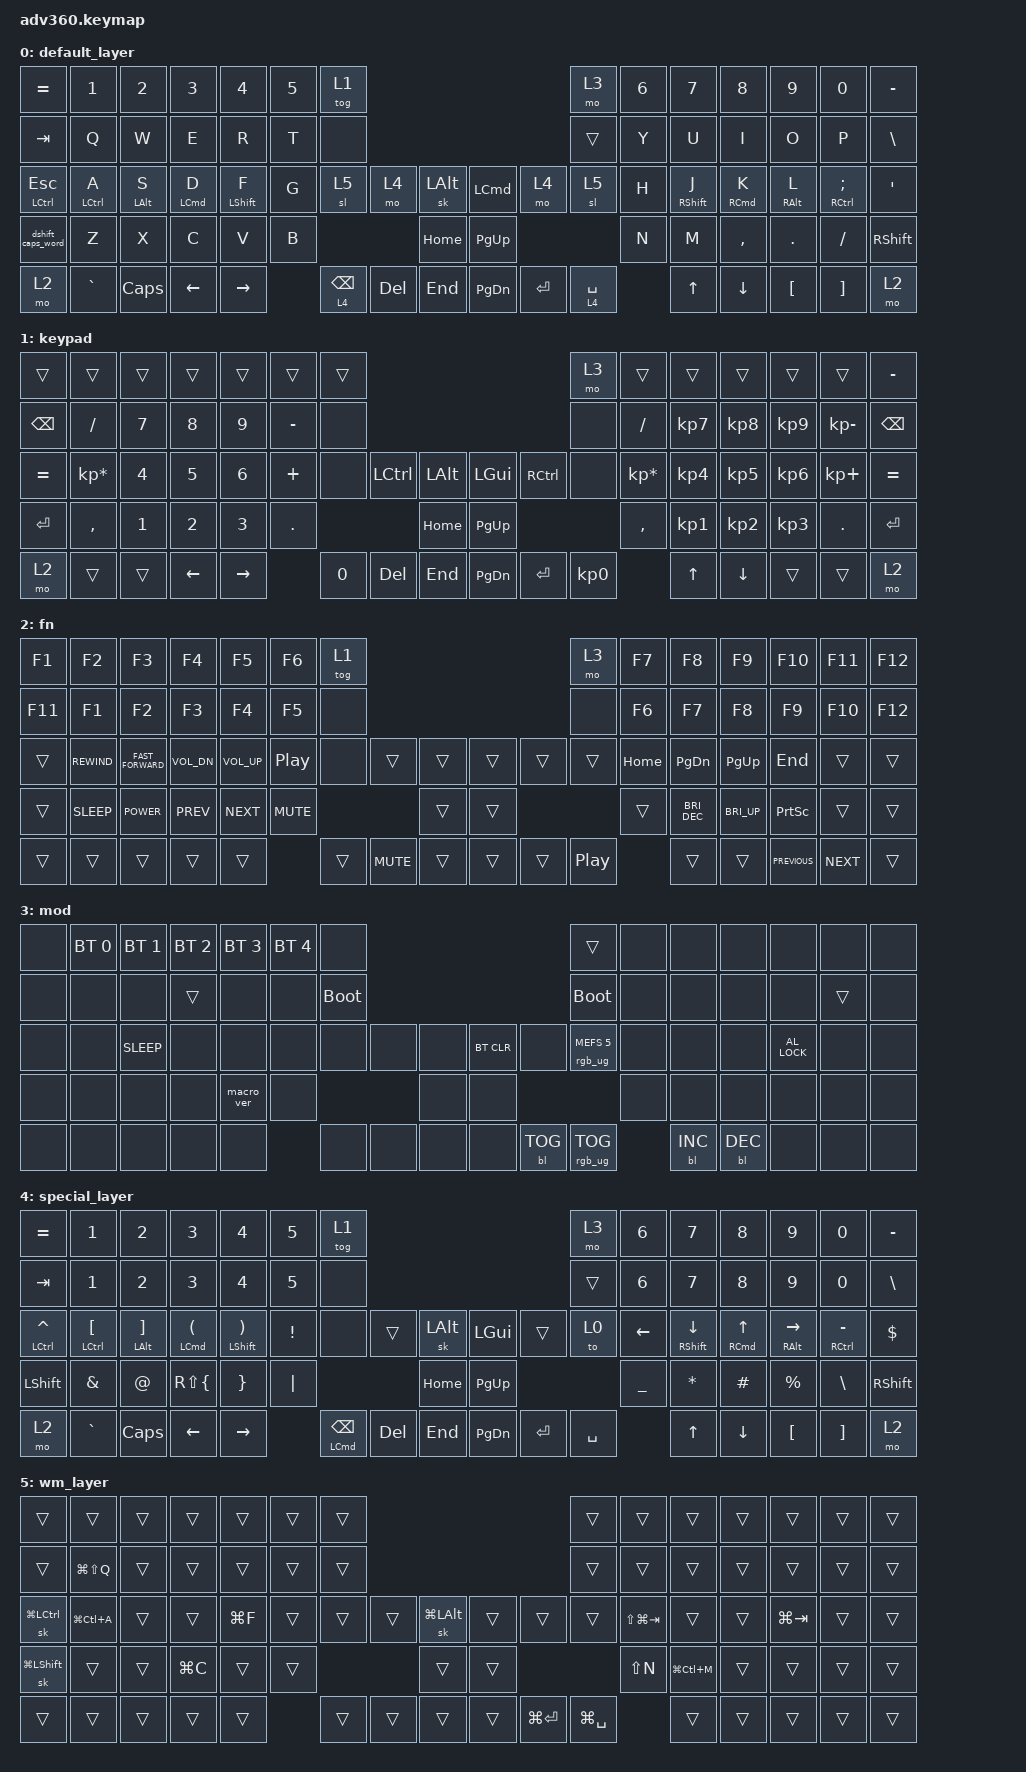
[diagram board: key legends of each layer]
#include <behaviors.dtsi>
#include <dt-bindings/zmk/backlight.h>
#include <dt-bindings/zmk/bt.h>
#include <dt-bindings/zmk/keys.h>
#include <dt-bindings/zmk/rgb.h>

&mt {
    flavor = "tap-preferred";
    quick-tap-ms = <200>;
    require-prior-idle-ms = <125>;
};

&caps_word { mods = <(MOD_RSFT|MOD_LSFT)>; };

/ {
    behaviors {
        #include "macros.dtsi"
      #include "version.dtsi"
      #ifndef VERSION_MACRO

        macro_ver: macro_ver {
            compatible = "zmk,behavior-macro";
            label = "macro_version";
            #binding-cells = <0>;
            bindings = <&kp RET>;
        };

        #endif

        hm: homerow_mods {
            compatible = "zmk,behavior-hold-tap";
            label = "HOMEROW_MODS";
            #binding-cells = <2>;
            tapping-term-ms = <350>;
            quick-tap-ms = <300>;
            require-prior-idle-ms = <300>;
            flavor = "tap-preferred";
            bindings = <&kp>, <&kp>;
        };

        spl: spl_layer_mod {
            compatible = "zmk,behavior-hold-tap";
            label = "SPL_LAYER_MODS";
            #binding-cells = <2>;
            tapping-term-ms = <350>;
            quick-tap-ms = <300>;
            require-prior-idle-ms = <300>;
            flavor = "tap-preferred";
            bindings = <&mo>, <&kp>;
        };

        td_mt_0: tap_dance_mt_0 {
            compatible = "zmk,behavior-tap-dance";
            label = "td_mt_0";
            #binding-cells = <0>;
            bindings = <&mt LCMD BACKSPACE>, <&kp BACKSPACE>;

            tapping-term-ms = <310>;
        };

        dshift_caps_word: dshift_caps_word {
            compatible = "zmk,behavior-tap-dance";
            label = "DSHIFT_CAPS_WORD";
            #binding-cells = <0>;
            bindings = <&kp LEFT_SHIFT>, <&caps_word>;

            tapping-term-ms = <310>;
        };
    };

    combos {
        compatible = "zmk,combos";

        wm_bspce_1 {
            bindings = <&kp LG(N1)>;
            key-positions = <65 29>;
            layers = <0>;
        };

        wm_bspce_2 {
            bindings = <&kp LG(N2)>;
            key-positions = <65 30>;
            layers = <0>;
        };

        wm_bspce_3 {
            bindings = <&kp LG(NUMBER_3)>;
            key-positions = <65 31>;
            layers = <0>;
        };

        wm_bspce_4 {
            bindings = <&kp LG(NUMBER_4)>;
            key-positions = <65 32>;
            layers = <0>;
        };

        wm_bspce_5 {
            bindings = <&kp LG(N5)>;
            key-positions = <65 33>;
            layers = <0>;
        };

        wm_spce_6 {
            bindings = <&kp LG(NUMBER_6)>;
            key-positions = <70 40>;
            layers = <0>;
        };

        wm_spce_7 {
            bindings = <&kp LG(N7)>;
            key-positions = <70 41>;
            layers = <0>;
        };

        wm_spce_8 {
            bindings = <&kp LG(N8)>;
            key-positions = <70 42>;
            layers = <0>;
        };

        wm_spce_9 {
            bindings = <&kp LG(N9)>;
            key-positions = <70 43>;
            layers = <0>;
        };

        wm_spce_bslash {
            bindings = <&kp LG(TAB)>;
            key-positions = <70 27>;
            layers = <0>;
        };

        wm_bspce_tab {
            bindings = <&kp LG(TAB)>;
            key-positions = <65 14>;
            layers = <0>;
        };
    };

    macros {
    };

    keymap {
        compatible = "zmk,keymap";

        default_layer {
            bindings = <
&kp EQUAL          &kp N1       &kp N2          &kp N3      &kp N4        &kp N5  &tog 1                                                         &mo 3         &kp N6  &kp N7        &kp N8      &kp N9           &kp N0               &kp MINUS
&kp TAB            &kp Q        &kp W           &kp E       &kp R         &kp T   &none                                                          &trans        &kp Y   &kp U         &kp I       &kp O            &kp P                &kp BSLH
&mt LCTRL ESCAPE   &hm LCTRL A  &hm LEFT_ALT S  &hm LCMD D  &hm LSHIFT F  &kp G   &sl 5             &mo 4    &sk LALT      &kp LCMD   &mo 4      &sl 5         &kp H   &hm RSHIFT J  &hm RCMD K  &hm RIGHT_ALT L  &hm RCTRL SEMICOLON  &kp SQT
&dshift_caps_word  &kp Z        &kp X           &kp C       &kp V         &kp B                              &kp HOME      &kp PG_UP                           &kp N   &kp M         &kp COMMA   &kp DOT          &kp FSLH             &kp RSHFT
&mo 2              &kp GRAVE    &kp CAPS        &kp LEFT    &kp RIGHT             &spl 4 BACKSPACE  &kp DEL  &kp END       &kp PG_DN  &kp ENTER  &spl 4 SPACE          &kp UP        &kp DOWN    &kp LBKT         &kp RBKT             &mo 2
            >;
        };

        keypad {
            bindings = <
&trans         &trans           &trans  &trans    &trans     &trans     &trans                                                  &mo 3      &trans           &trans     &trans     &trans     &trans        &kp MINUS
&kp BACKSPACE  &kp SLASH        &kp N7  &kp N8    &kp N9     &kp MINUS  &none                                                   &none      &kp SLASH        &kp KP_N7  &kp KP_N8  &kp KP_N9  &kp KP_MINUS  &kp BACKSPACE
&kp EQUAL      &kp KP_MULTIPLY  &kp N4  &kp N5    &kp N6     &kp PLUS   &none   &kp LCTRL   &kp LALT      &kp LGUI   &kp RCTRL  &none      &kp KP_MULTIPLY  &kp KP_N4  &kp KP_N5  &kp KP_N6  &kp KP_PLUS   &kp EQUAL
&kp ENTER      &kp COMMA        &kp N1  &kp N2    &kp N3     &kp DOT                        &kp HOME      &kp PG_UP                        &kp COMMA        &kp KP_N1  &kp KP_N2  &kp KP_N3  &kp DOT       &kp ENTER
&mo 2          &trans           &trans  &kp LEFT  &kp RIGHT             &kp N0  &kp DELETE  &kp END       &kp PG_DN  &kp ENTER  &kp KP_N0                   &kp UP     &kp DOWN   &trans     &trans        &mo 2
            >;
        };

        fn {
            bindings = <
&kp F1   &kp F2        &kp F3              &kp F4        &kp F5        &kp F6            &tog 1                                          &mo 3             &kp F7    &kp F8         &kp F9        &kp F10          &kp F11     &kp F12
&kp F11  &kp F1        &kp F2              &kp F3        &kp F4        &kp F5            &none                                           &none             &kp F6    &kp F7         &kp F8        &kp F9           &kp F10     &kp F12
&trans   &kp C_REWIND  &kp C_FAST_FORWARD  &kp C_VOL_DN  &kp C_VOL_UP  &kp C_PLAY_PAUSE  &none   &trans      &trans      &trans  &trans  &trans            &kp HOME  &kp PAGE_DOWN  &kp PAGE_UP   &kp END          &trans      &trans
&trans   &kp C_SLEEP   &kp C_POWER         &kp C_PREV    &kp C_NEXT    &kp C_MUTE                            &trans      &trans                            &trans    &kp C_BRI_DEC  &kp C_BRI_UP  &kp PRINTSCREEN  &trans      &trans
&trans   &trans        &trans              &trans        &trans                          &trans  &kp C_MUTE  &trans      &trans  &trans  &kp C_PLAY_PAUSE            &trans         &trans        &kp C_PREVIOUS   &kp C_NEXT  &trans
            >;
        };

        mod {
            bindings = <
&none  &bt BT_SEL 0  &bt BT_SEL 1  &bt BT_SEL 2  &bt BT_SEL 3  &bt BT_SEL 4  &none                                                  &trans                  &none  &none       &none       &none          &none   &none
&none  &none         &none         &trans        &none         &none         &bootloader                                            &bootloader             &none  &none       &none       &none          &trans  &none
&none  &none         &kp C_SLEEP   &none         &none         &none         &none        &none  &none      &bt BT_CLR  &none       &rgb_ug RGB_MEFS_CMD 5  &none  &none       &none       &kp C_AL_LOCK  &none   &none
&none  &none         &none         &none         &macro_ver    &none                             &none      &none                                           &none  &none       &none       &none          &none   &none
&none  &none         &none         &none         &none                       &none        &none  &none      &none       &bl BL_TOG  &rgb_ug RGB_TOG                &bl BL_INC  &bl BL_DEC  &none          &none   &none
            >;
        };

        special_layer {
            bindings = <
&kp EQUAL        &kp N1          &kp N2             &kp N3              &kp N4           &kp N5    &tog 1                                                           &mo 3      &kp N6     &kp N7           &kp N8       &kp N9               &kp N0           &kp MINUS
&kp TAB          &kp N1          &kp N2             &kp N3              &kp N4           &kp N5    &none                                                            &trans     &kp N6     &kp N7           &kp N8       &kp N9               &kp N0           &kp BSLH
&mt LCTRL CARET  &hm LCTRL LBKT  &hm LEFT_ALT RBKT  &hm LCMD LPAR       &hm LSHIFT RPAR  &kp EXCL  &none               &trans   &sk LALT      &kp LGUI   &trans     &to 0      &kp LEFT   &hm RSHIFT DOWN  &hm RCMD UP  &hm RIGHT_ALT RIGHT  &hm RCTRL MINUS  &kp DOLLAR
&kp LSHFT        &kp AMPERSAND   &kp AT             &kp RS(LEFT_BRACE)  &kp RIGHT_BRACE  &kp PIPE                               &kp HOME      &kp PG_UP                        &kp UNDER  &kp ASTRK        &kp HASH     &kp PERCENT          &kp BSLH         &kp RSHFT
&mo 2            &kp GRAVE       &kp CAPS           &kp LEFT            &kp RIGHT                  &hm LCMD BACKSPACE  &kp DEL  &kp END       &kp PG_DN  &kp ENTER  &kp SPACE             &kp UP           &kp DOWN     &kp LBKT             &kp RBKT         &mo 2
            >;
        };

        wm_layer {
            bindings = <
&trans         &trans         &trans  &trans     &trans     &trans  &trans                                                   &trans         &trans           &trans         &trans  &trans       &trans  &trans
&trans         &kp LG(LS(Q))  &trans  &trans     &trans     &trans  &trans                                                   &trans         &trans           &trans         &trans  &trans       &trans  &trans
&sk LG(LCTRL)  &kp LG(LC(A))  &trans  &trans     &kp LG(F)  &trans  &trans  &trans  &sk LG(LALT)      &trans  &trans         &trans         &kp LS(LG(TAB))  &trans         &trans  &kp LG(TAB)  &trans  &trans
&sk LG(LSHFT)  &trans         &trans  &kp LG(C)  &trans     &trans                  &trans            &trans                                &kp LS(N)        &kp LG(LC(M))  &trans  &trans       &trans  &trans
&trans         &trans         &trans  &trans     &trans             &trans  &trans  &trans            &trans  &kp LG(ENTER)  &kp LG(SPACE)                   &trans         &trans  &trans       &trans  &trans
            >;
        };
    };
};
